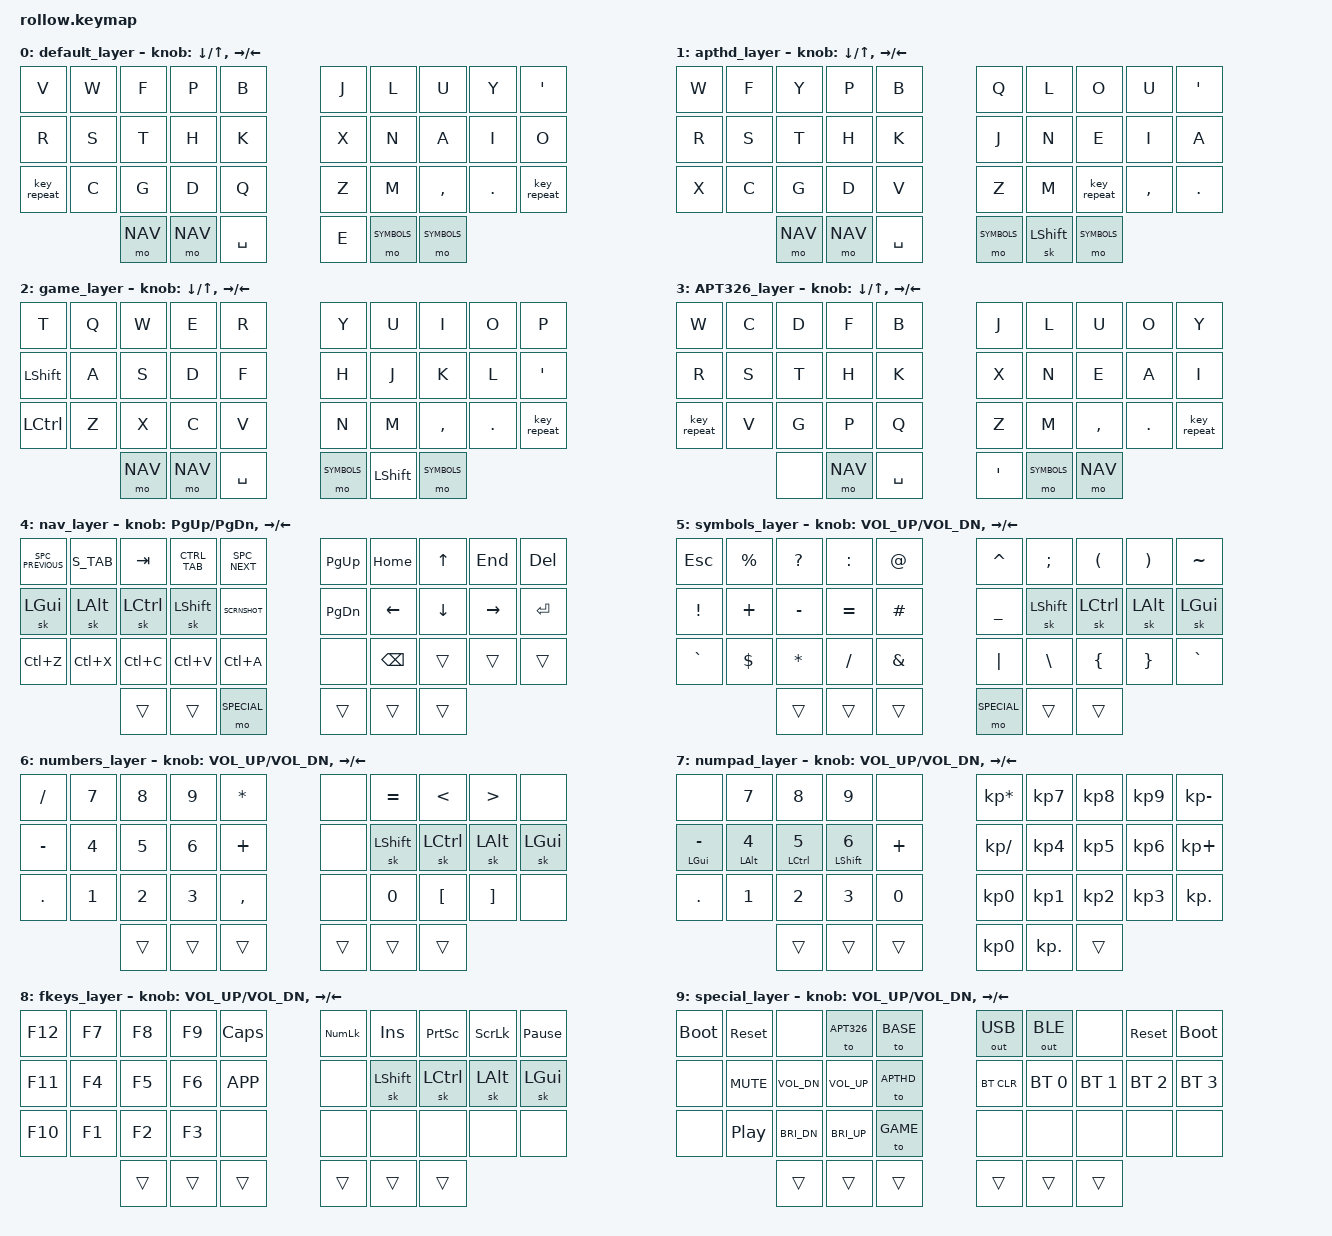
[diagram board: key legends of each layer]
/*
 * Copyright (c) 2020 The ZMK Contributors
 *
 * SPDX-License-Identifier: MIT
 */

#include <behaviors.dtsi>
#include <dt-bindings/zmk/keys.h>
#include <dt-bindings/zmk/bt.h>
#include <dt-bindings/zmk/ext_power.h>
#include <dt-bindings/zmk/outputs.h>

#define BASE    0
#define APTHD   1
#define GAME    2
#define APT326  3
#define NAV     4
#define SYMBOLS 5
#define NUMBERS 6
#define NUMPAD  7
#define FKEYS   8
#define SPECIAL 9


#define LAUNCHER (LG(TAB))
#define CTRL_TAB (LC(TAB))
#define C_S_TAB (LC(LS(TAB)))
#define SCRNSHOT (LG(LS(S)))

#define SPC_PREVIOUS (LC(LG(LEFT)))
#define S_PRV SPC_PREVIOUS

#define SPC_NEXT (LC(LG(RIGHT)))
#define S_NXT SPC_NEXT

&caps_word {
    continue-list = <UNDERSCORE MINUS BACKSPACE>;
};

&sk {
  quick-release;
};

/ {
  #include "36key_combos.dtsi"
  
  chosen {
    zmk,battery = &vbatt;
    zmk,matrix_transform = &five_column_transform;
  };

  vbatt: vbatt {
      compatible = "zmk,battery-nrf-vddh";
      label = "VBATT";
  };

  conditional_layers {
      compatible = "zmk,conditional-layers";
      tri_layer {
          if-layers = <NAV SYMBOLS>;
          then-layer = <NUMBERS>;
      };
  };

  keymap {
      compatible = "zmk,keymap";

      default_layer {
/* Default
 * .-----------------------------------------.                    .-----------------------------------------.
 * | TAB  |   Q  |   W  |   E  |   R  |   T  |                    |   Y  |   U  |   I  |   O  |   P  | BKSP |
 * |------+------+------+------+------+------|                    |------+------+------+------+------+------|
 * | CTRL |   A  |   S  |   D  |   F  |   G  |                    |   H  |   J  |   K  |   L  |   ;  |   '  |
 * |------+------+------+------+------+------|                    |------+------+------+------+------+------|
 * | SHFT |   Z  |   X  |   C  |   V  |   B  |-------.    .-------|   N  |   M  |   ,  |   .  |   /  | SHFT |
 * '-----------------------------------------/       /     \      \-----------------------------------------'
 *                          |  GUI |  LWR | / Space /       \ Space\  |TT(RS)| Tab  |
 *                          |      |      |/       /         \      \ |      |      |
 *                          '-------------''------'           '------''-------------'
 *
 *   Encoder Left: Up <-> Down
 *   Encoder Right: Left <-> Right
 */
        bindings = <
  &kp        V &kp        W &kp        F &kp        P &kp        B                   &kp        J &kp        L &kp        U &kp        Y &kp     APOS
  &kp        R &kp        S &kp        T &kp        H &kp        K                   &kp        X &kp        N &kp        A &kp        I &kp        O
  &key_repeat  &kp        C &kp        G &kp        D &kp        Q                   &kp        Z &kp        M &kp    COMMA &kp   PERIOD &key_repeat
                                         &mo      NAV &mo    NAV &kp SPACE   &kp   E &mo  SYMBOLS &mo  SYMBOLS

                        >;

                        sensor-bindings = <&inc_dec_kp DOWN UP &inc_dec_kp RIGHT LEFT>;
                };

                apthd_layer {
/* APTHD
 * .-----------------------------------------.                    .-----------------------------------------.
 * | TAB  |   Q  |   W  |   E  |   R  |   T  |                    |   Y  |   U  |   I  |   O  |   P  | BKSP |
 * |------+------+------+------+------+------|                    |------+------+------+------+------+------|
 * | CTRL |   A  |   S  |   D  |   F  |   G  |                    |   H  |   J  |   K  |   L  |   ;  |   '  |
 * |------+------+------+------+------+------|                    |------+------+------+------+------+------|
 * | SHFT |   Z  |   X  |   C  |   V  |   B  |-------.    .-------|   N  |   M  |   ,  |   .  |   /  | SHFT |
 * '-----------------------------------------/       /     \      \-----------------------------------------'
 *                          |  GUI |  LWR | / Space /       \ Space\  |TT(RS)| Tab  |
 *                          |      |      |/       /         \      \ |      |      |
 *                          '-------------''------'           '------''-------------'
 *
 *   Encoder Left: Up <-> Down
 *   Encoder Right: Left <-> Right
 */
                        bindings = <
  &kp        W &kp        F &kp        Y &kp        P &kp        B                   &kp        Q &kp        L &kp        O &kp        U &kp     APOS
  &kp        R &kp        S &kp        T &kp        H &kp        K                   &kp        J &kp        N &kp        E &kp        I &kp        A
  &kp        X &kp        C &kp        G &kp        D &kp        V                   &kp        Z &kp        M &key_repeat  &kp    COMMA &kp   PERIOD
                                         &mo      NAV &mo    NAV &kp SPACE &mo SYMBOLS &sk  LSHFT &mo  SYMBOLS
                        >;

                        sensor-bindings = <&inc_dec_kp DOWN UP &inc_dec_kp RIGHT LEFT>;
                };

                game_layer {
/* Game
 * .-----------------------------------------.                    .-----------------------------------------.
 * | TAB  |   Q  |   W  |   E  |   R  |   T  |                    |   Y  |   U  |   I  |   O  |   P  | BKSP |
 * |------+------+------+------+------+------|                    |------+------+------+------+------+------|
 * | CTRL |   A  |   S  |   D  |   F  |   G  |                    |   H  |   J  |   K  |   L  |   ;  |   '  |
 * |------+------+------+------+------+------|                    |------+------+------+------+------+------|
 * | SHFT |   Z  |   X  |   C  |   V  |   B  |-------.    .-------|   N  |   M  |   ,  |   .  |   /  | SHFT |
 * '-----------------------------------------/       /     \      \-----------------------------------------'
 *                          |  GUI |  LWR | / Space /       \ Space\  |TT(RS)| Tab  |
 *                          |      |      |/       /         \      \ |      |      |
 *                          '-------------''------'           '------''-------------'
 *
 *   Encoder Left: Up <-> Down
 *   Encoder Right: Left <-> Right
 */
                        bindings = <
  &kp        T &kp        Q &kp        W &kp        E &kp        R                   &kp        Y &kp        U &kp        I &kp        O &kp        P
  &kp    LSHFT &kp        A &kp        S &kp        D &kp        F                   &kp        H &kp        J &kp        K &kp        L &kp     APOS
  &kp    LCTRL &kp        Z &kp        X &kp        C &kp        V                   &kp        N &kp        M &kp    COMMA &kp   PERIOD &key_repeat
                                         &mo      NAV &mo    NAV &kp SPACE &mo SYMBOLS &kp  LSHFT &mo  SYMBOLS
                        >;

                        sensor-bindings = <&inc_dec_kp DOWN UP &inc_dec_kp RIGHT LEFT>;
                };

                APT326_layer {
/* APT326
 * .-----------------------------------------.                    .-----------------------------------------.
 * | TAB  |   Q  |   W  |   E  |   R  |   T  |                    |   Y  |   U  |   I  |   O  |   P  | BKSP |
 * |------+------+------+------+------+------|                    |------+------+------+------+------+------|
 * | CTRL |   A  |   S  |   D  |   F  |   G  |                    |   H  |   J  |   K  |   L  |   ;  |   '  |
 * |------+------+------+------+------+------|                    |------+------+------+------+------+------|
 * | SHFT |   Z  |   X  |   C  |   V  |   B  |-------.    .-------|   N  |   M  |   ,  |   .  |   /  | SHFT |
 * '-----------------------------------------/       /     \      \-----------------------------------------'
 *                          |  GUI |  LWR | / Space /       \ Space\  |TT(RS)| Tab  |
 *                          |      |      |/       /         \      \ |      |      |
 *                          '-------------''------'           '------''-------------'
 *
 *   Encoder Left: Up <-> Down
 *   Encoder Right: Left <-> Right
 */
                        bindings = <
      &kp        W &kp        C &kp        D &kp        F &kp        B                 &kp        J &kp        L &kp        U &kp        O &kp        Y
      &kp        R &kp        S &kp        T &kp        H &kp        K                 &kp        X &kp        N &kp        E &kp        A &kp        I
      &key_repeat  &kp        V &kp        G &kp        P &kp        Q                 &kp        Z &kp        M &kp    COMMA &kp   PERIOD &key_repeat
                                &none        &mo      NAV &kp    SPACE                 &kp     APOS &mo  SYMBOLS &mo      NAV
                        >;

                        sensor-bindings = <&inc_dec_kp DOWN UP &inc_dec_kp RIGHT LEFT>;
                };

                nav_layer {
/* NAV
 * .-----------------------------------------.                    .-----------------------------------------.
 * |  ESC |   1  |  2   |  3   |  4   |  5   |                    |   6  |   7  |   8  |   9  |   0  | BKSP |
 * |------+------+------+------+------+------|                    |------+------+------+------+------+------|
 * | BTCLR| BT1  | BT2  | BT3  | BT4  | BT5  |                    |  LFT |  DWN |   UP |  RGT |      |      |
 * |------+------+------+------+------+------|                    |------+------+------+------+------+------|
 * | SHFT |      |      |      |      |      |-------.    .-------|      |      |      |      |      |      |
 * '-----------------------------------------/       /     \      \-----------------------------------------'
 *                          |  GUI |      | / Space /       \ Enter\  |      |  ALT |
 *                          |      |      |/       /         \      \ |      |      |
 *                          '-------------''------'           '------''-------------'
 * 
 *   Encoder Left: PG_UP <-> PG_DN
 *   Encoder Right: -
 */
                        bindings = <
      &kp    S_PRV &kp  C_S_TAB &kp      TAB &kp CTRL_TAB &kp    S_NXT                   &kp    PG_UP &kp     HOME &kp       UP &kp      END &kp      DEL
      &sk     LGUI &sk     LALT &sk    LCTRL &sk    LSHFT &kp SCRNSHOT                   &kp    PG_DN &kp     LEFT &kp     DOWN &kp    RIGHT &kp    ENTER
      &kp    LC(Z) &kp    LC(X) &kp    LC(C) &kp    LC(V) &kp    LC(A)                   &none        &kp     BSPC &trans       &trans       &trans
                                             &trans       &trans  &mo  SPECIAL   &trans  &trans       &trans
                            >;

                            sensor-bindings = <&inc_dec_kp PG_UP PG_DN &inc_dec_kp RIGHT LEFT>;
                };

                symbols_layer {
/* SYMBOLS
 * .-----------------------------------------.                    .-----------------------------------------.
 * | ESC  |   !  |   @  |   #  |   $  |   %  |                    |   ^  |   &  |   *  |   (  |   )  | BKSP |
 * |------+------+------+------+------+------|                    |------+------+------+------+------+------|
 * | CTRL |      |      | Prev | Next |      |                    |   -  |   =  |   {  |   }  |  "|" |   `  |
 * |------+------+------+------+------+------|                    |------+------+------+------+------+------|
 * | SHFT |      |      |      |      |      |-------.    .-------|   _  |   +  |   [  |   ]  |   \  |   ~  |
 * '-----------------------------------------/       /     \      \-----------------------------------------'
 *                          | Play |      | / Space /       \ Enter\  |      |  ALT |
 *                          | Paus |      |/       /         \      \ |      |      |
 *                          '------------''------'            '------''-------------'
 *
 *   Encoder Left: -
 *   Encoder Right: VOL_UP <-> VOL_D
 */
                        bindings = <
      &kp   ESCAPE &kp  PERCENT &kp    QMARK &kp    COLON &kp       AT                   &kp    CARET &kp     SEMI &kp     LPAR &kp     RPAR &kp    TILDE
      &kp     EXCL &kp     PLUS &kp    MINUS &kp    EQUAL &kp     HASH                   &kp    UNDER &sk   LSHIFT &sk    LCTRL &sk     LALT &sk     LGUI
      &kp    GRAVE &kp   DOLLAR &kp ASTERISK &kp    SLASH &kp     AMPS                   &kp     PIPE &kp     BSLH &kp     LBRC &kp     RBRC &kp    GRAVE
                                             &trans       &trans     &trans  &mo SPECIAL &trans   &trans
                        >;
   
                        sensor-bindings = <&inc_dec_kp C_VOL_UP C_VOL_DN &inc_dec_kp RIGHT LEFT>;
                };
 
                 numbers_layer {
/* NUMBERS
 * .-----------------------------------------.                    .-----------------------------------------.
 * | ESC  |   !  |   @  |   #  |   $  |   %  |                    |   ^  |   &  |   *  |   (  |   )  | BKSP |
 * |------+------+------+------+------+------|                    |------+------+------+------+------+------|
 * | CTRL |      |      | Prev | Next |      |                    |   -  |   =  |   {  |   }  |  "|" |   `  |
 * |------+------+------+------+------+------|                    |------+------+------+------+------+------|
 * | SHFT |      |      |      |      |      |-------.    .-------|   _  |   +  |   [  |   ]  |   \  |   ~  |
 * '-----------------------------------------/       /     \      \-----------------------------------------'
 *                          | Play |      | / Space /       \ Enter\  |      |  ALT |
 *                          | Paus |      |/       /         \      \ |      |      |
 *                          '------------''------'            '------''-------------'
 *
 *   Encoder Left: -
 *   Encoder Right: VOL_UP <-> VOL_D
 */
                        bindings = <
      &kp    SLASH &kp       N7 &kp       N8 &kp       N9 &kp ASTERISK                   &none        &kp    EQUAL &kp       LT &kp GT       &none
      &kp    MINUS &kp       N4 &kp       N5 &kp       N6 &kp     PLUS                   &none        &sk   LSHIFT &sk    LCTRL &sk    LALT  &sk     LGUI
      &kp      DOT &kp       N1 &kp       N2 &kp       N3 &kp    COMMA                   &none        &kp       N0 &kp     LBKT &kp     RBKT &none
                                             &trans       &trans       &trans    &trans  &trans       &trans
                        >;

                        sensor-bindings = <&inc_dec_kp C_VOL_UP C_VOL_DN &inc_dec_kp RIGHT LEFT>;
                };

                 numpad_layer {
/* NUMPAD
 * .-----------------------------------------.                    .-----------------------------------------.
 * | ESC  |   !  |   @  |   #  |   $  |   %  |                    |   ^  |   &  |   *  |   (  |   )  | BKSP |
 * |------+------+------+------+------+------|                    |------+------+------+------+------+------|
 * | CTRL |      |      | Prev | Next |      |                    |   -  |   =  |   {  |   }  |  "|" |   `  |
 * |------+------+------+------+------+------|                    |------+------+------+------+------+------|
 * | SHFT |      |      |      |      |      |-------.    .-------|   _  |   +  |   [  |   ]  |   \  |   ~  |
 * '-----------------------------------------/       /     \      \-----------------------------------------'
 *                          | Play |      | / Space /       \ Enter\  |      |  ALT |
 *                          | Paus |      |/       /         \      \ |      |      |
 *                          '------------''------'            '------''-------------'
 *
 *   Encoder Left: -
 *   Encoder Right: VOL_UP <-> VOL_D
 */
                        bindings = <
      &none        &kp       N7 &kp       N8 &kp       N9 &none                          &kp KP_ASTERISK &kp    KP_N7 &kp    KP_N8 &kp    KP_N9 &kp KP_MINUS
      &mt LGUI MINUS &mt  LALT N4 &mt  LCTRL N5 &mt LSHFT N6 &kp   PLUS                  &kp    KP_SLASH &kp    KP_N4 &kp    KP_N5 &kp    KP_N6 &kp  KP_PLUS
      &kp      DOT &kp       N1 &kp       N2 &kp       N3 &kp       N0                   &kp       KP_N0 &kp    KP_N1 &kp    KP_N2 &kp    KP_N3 &kp   KP_DOT
                                             &trans       &trans       &trans  &kp KP_N0 &kp KP_DOT      &trans
                        >;

                        sensor-bindings = <&inc_dec_kp C_VOL_UP C_VOL_DN &inc_dec_kp RIGHT LEFT>;
                };

                 fkeys_layer {
/* F-KEYS
 * .-----------------------------------------.                    .-----------------------------------------.
 * | ESC  |   !  |   @  |   #  |   $  |   %  |                    |   ^  |   &  |   *  |   (  |   )  | BKSP |
 * |------+------+------+------+------+------|                    |------+------+------+------+------+------|
 * | CTRL |      |      | Prev | Next |      |                    |   -  |   =  |   {  |   }  |  "|" |   `  |
 * |------+------+------+------+------+------|                    |------+------+------+------+------+------|
 * | SHFT |      |      |      |      |      |-------.    .-------|   _  |   +  |   [  |   ]  |   \  |   ~  |
 * '-----------------------------------------/       /     \      \-----------------------------------------'
 *                          | Play |      | / Space /       \ Enter\  |      |  ALT |
 *                          | Paus |      |/       /         \      \ |      |      |
 *                          '------------''------'            '------''-------------'
 *
 *   Encoder Left: -
 *   Encoder Right: VOL_UP <-> VOL_D
 */
                        bindings = <
      &kp      F12 &kp       F7 &kp       F8 &kp       F9 &kp     CAPS                   &kp KP_NUM   &kp      INS &kp    PSCRN &kp     SLCK &kp PAUSE_BREAK
      &kp      F11 &kp       F4 &kp       F5 &kp       F6 &kp    K_APP                   &none        &sk    LSHFT &sk    LCTRL &sk     LALT &sk     LGUI
      &kp      F10 &kp       F1 &kp       F2 &kp       F3 &none                          &none        &none        &none        &none        &none
                                             &trans       &trans       &trans    &trans  &trans       &trans
                        >;

                        sensor-bindings = <&inc_dec_kp C_VOL_UP C_VOL_DN &inc_dec_kp RIGHT LEFT>;
                };

                special_layer {
/* SPECIAL
 * .-----------------------------------------.                    .-----------------------------------------.
 * | ESC  |   !  |   @  |   #  |   $  |   %  |                    |   ^  |   &  |   *  |   (  |   )  | BKSP |
 * |------+------+------+------+------+------|                    |------+------+------+------+------+------|
 * | CTRL |      |      | Prev | Next |      |                    |   -  |   =  |   {  |   }  |  "|" |   `  |
 * |------+------+------+------+------+------|                    |------+------+------+------+------+------|
 * | SHFT |      |      |      |      |      |-------.    .-------|   _  |   +  |   [  |   ]  |   \  |   ~  |
 * '-----------------------------------------/       /     \      \-----------------------------------------'
 *                          | Play |      | / Space /       \ Enter\  |      |  ALT |
 *                          | Paus |      |/       /         \      \ |      |      |
 *                          '------------''------'            '------''-------------'
 *
 *   Encoder Left: -
 *   Encoder Right: VOL_UP <-> VOL_D
 */
                        bindings = <
      &bootloader  &sys_reset   &none        &to   APT326 &to     BASE                   &out OUT_USB &out OUT_BLE &none        &sys_reset   &bootloader
      &none        &kp   C_MUTE &kp C_VOL_DN &kp C_VOL_UP &to    APTHD                   &bt   BT_CLR &bt BT_SEL 0 &bt BT_SEL 1 &bt BT_SEL 2 &bt BT_SEL 3
      &none        &kp     C_PP &kp C_BRI_DN &kp C_BRI_UP &to     GAME                   &none        &none        &none        &none        &none
                                             &trans       &trans       &trans    &trans  &trans       &trans
                        >;
   
                        sensor-bindings = <&inc_dec_kp C_VOL_UP C_VOL_DN &inc_dec_kp RIGHT LEFT>;
                };
        };
};
